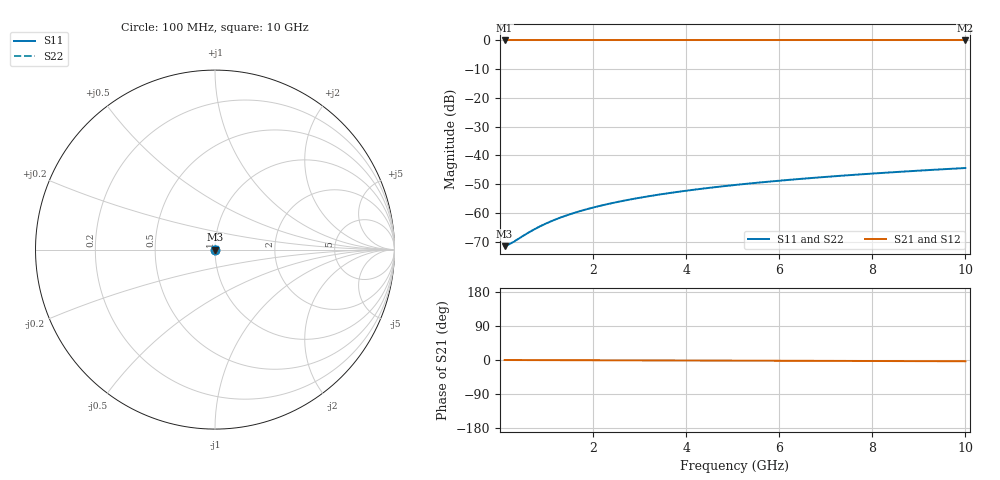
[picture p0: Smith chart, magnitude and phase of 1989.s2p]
# Hz S RI R 50.00
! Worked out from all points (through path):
!   100 points, 100 MHz to 10 GHz, reference 50 ohm
!   highest |S21| = 0.00 dB at 100 MHz (marker M1); lowest = 0.0 dB at 10 GHz (marker M2)
!   lowest |S11| = -71.6 dB at 100 MHz (marker M3), VSWR 1.00, Z = 50 + j0.00603 ohm
!   |S11| at or under -10 dB: start of sweep to end of sweep
!   |S22| runs from -71.6 to -44.4 dB; largest |S21 - S12| = 0
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1e8  0.000256 6.02e-05  0.9997 -0.000575  0.9997 -0.000575  0.000256 6.02e-05
2e8  0.000258 0.00012  0.9997 -0.00115  0.9997 -0.00115  0.000258 0.00012
3e8  0.000259 0.000181  0.9997 -0.00172  0.9997 -0.00172  0.000259 0.000181
5e8  0.000261 0.000301  0.9997 -0.00287  0.9997 -0.00287  0.000261 0.000301
7e8  0.000263 0.000422  0.9997 -0.00402  0.9997 -0.00402  0.000263 0.000422
8e8  0.000264 0.000482  0.9997 -0.0046  0.9997 -0.0046  0.000264 0.000482
1e9  0.000266 0.000602  0.9997 -0.00575  0.9997 -0.00575  0.000266 0.000602
1.2e9  0.000268 0.000723  0.9997 -0.0069  0.9997 -0.0069  0.000268 0.000723
1.4e9  0.00027 0.000843  0.9997 -0.00804  0.9997 -0.00804  0.00027 0.000843
1.6e9  0.000273 0.000963  0.9997 -0.00919  0.9997 -0.00919  0.000273 0.000963
1.8e9  0.000275 0.00108  0.9997 -0.0103  0.9997 -0.0103  0.000275 0.00108
2.1e9  0.00028 0.00126  0.9997 -0.0121  0.9997 -0.0121  0.00028 0.00126
2.5e9  0.000287 0.0015  0.9996 -0.0144  0.9996 -0.0144  0.000287 0.0015
2.9e9  0.000295 0.00174  0.9996 -0.0167  0.9996 -0.0167  0.000295 0.00174
3.4e9  0.000306 0.00204  0.9995 -0.0195  0.9995 -0.0195  0.000306 0.00204
4.2e9  0.000328 0.00252  0.9994 -0.0242  0.9994 -0.0242  0.000328 0.00252
5.1e9  0.000358 0.00306  0.9993 -0.0293  0.9993 -0.0293  0.000358 0.00306
5.9e9  0.000389 0.00354  0.9991 -0.034  0.9991 -0.034  0.000389 0.00354
6.7e9  0.000424 0.00402  0.9989 -0.0386  0.9989 -0.0386  0.000424 0.00402
7.5e9  0.000464 0.0045  0.9987 -0.0432  0.9987 -0.0432  0.000464 0.0045
8.4e9  0.000514 0.00504  0.9985 -0.0484  0.9985 -0.0484  0.000514 0.00504
1e10  0.000618 0.00599  0.998 -0.0577  0.998 -0.0577  0.000618 0.00599
